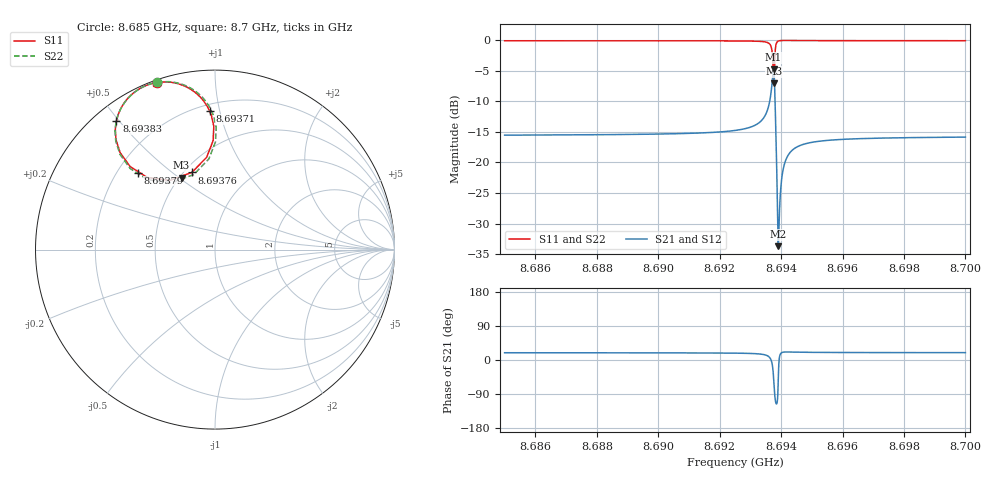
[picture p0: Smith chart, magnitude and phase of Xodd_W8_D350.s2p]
! Sonnet Data File
! From: emgraph Version : 16.52
! From Project: Qubit_Xmon2_brg
! Data is De-embedded
! Data File Written: 10/24/2017 23:45:54
!< HDATE 10/24/2017 16:04:25
!< MDATE 10/24/2017 16:04:25
!< PARAMS
!< Lj = 11.0
!< Gap = 6.0
!< Pwid = 2000.0
!< Airgap = 6.0
!< Width = 10.0
!< Bwid = 8.0
!< Dis1 = 350.0
!< Dis2 = 356.0
!< END PARAMS
# GHZ S MA R 34.70000
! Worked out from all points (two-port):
!   3001 points, 8.685 GHz to 8.7 GHz, reference 34.7 ohm
!   highest |S21| = -4.76 dB at 8.69375 GHz (marker M1); lowest = -33.7 dB at 8.69391 GHz (marker M2)
!   |S21| within 3 dB of the highest: 8.693692 GHz to 8.693791 GHz (98.91 kHz wide, 0.00114 % of centre)
!   lowest |S11| = -7.1 dB at 8.69377 GHz (marker M3), VSWR 2.58, Z = 17.8 + j17.7 ohm
!   |S11| at or under -10 dB: nowhere
!   |S22| runs from -7.4 to -0.1 dB; largest |S21 - S12| = 0
!   S11 on the Smith chart (normalised r, x): 8.685 GHz: 0.01, +0.71; 8.69371 GHz: 0.24, +0.93; 8.69376 GHz: 0.55, +0.59; 8.69379 GHz: 0.28, +0.38; 8.69383 GHz: 0.06, +0.49; 8.7 GHz: 0.01, +0.71
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8.685  0.986 109.3  0.1668 19.2  0.1668 19.2  0.986 109.0
!< P1 F=8.685 Eeff=(5.13559215 -5.6621e-5) Z0=(34.6542042 -9.3986e-5) R=0.0 C=0.0
!< P2 F=8.685 Eeff=(5.13559215 -5.6621e-5) Z0=(34.6542042 -9.3986e-5) R=0.0 C=0.0
8.6875  0.9858 109.2  0.1679 19.1  0.1679 19.1  0.9858 108.9
8.69  0.9853 109.1  0.1704 18.9  0.1704 18.9  0.9853 108.8
8.6925  0.983 108.3  0.1823 18.1  0.1823 18.1  0.983 108.0
8.693245  0.9767 106.9  0.2075 16.3  0.2075 16.3  0.9766 106.5
8.69357  0.951 103.0  0.274 10.5  0.274 10.5  0.9508 102.6
8.693655  0.9078 99.0  0.3443 3.3  0.3443 3.3  0.9069 98.3
8.69369  0.8549 95.6  0.4038 -3.8  0.4038 -3.8  0.8532 94.8
8.693715  0.7732 92.2  0.4689 -13.1  0.4689 -13.1  0.77 91.3
8.693755  0.4763 99.8  0.5781 -45.6  0.5781 -45.6  0.4636 98.7
8.69376  0.4487 106.7  0.5766 -51.8  0.5766 -51.8  0.4343 105.9
8.693765  0.442 114.9  0.5673 -58.3  0.5673 -58.3  0.4269 114.7
8.693785  0.6072 135.1  0.4575 -83.6  0.4575 -83.6  0.5976 135.8
8.69383  0.9027 127.5  0.1777 -113.3  0.1777 -113.3  0.9004 127.8
8.69387  0.9622 121.6  0.06325 -112.6  0.06325 -112.6  0.9612 121.7
8.69391  0.9802 118.4  0.02066 -47.8  0.02066 -47.8  0.9796 118.4
8.693955  0.9874 116.3  0.04356 10.5  0.04356 10.5  0.9871 116.2
8.69406  0.9914 113.9  0.08562 20.5  0.08562 20.5  0.9913 113.7
8.69422  0.9915 112.3  0.1134 21.1  0.1134 21.1  0.9914 112.1
8.695  0.989 110.4  0.1458 20.2  0.1458 20.2  0.989 110.2
8.6975  0.9873 109.7  0.1583 19.5  0.1583 19.5  0.9873 109.4
8.7  0.987 109.5  0.1609 19.4  0.1609 19.4  0.987 109.3
